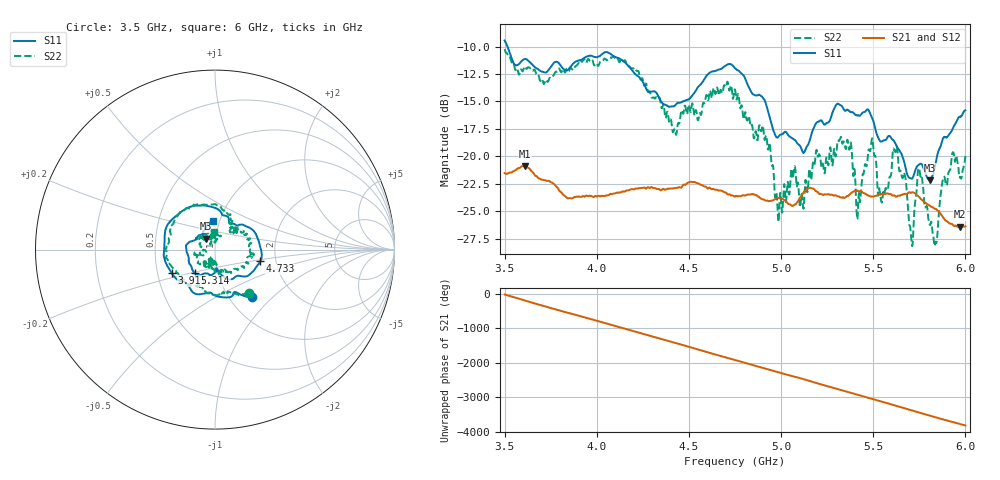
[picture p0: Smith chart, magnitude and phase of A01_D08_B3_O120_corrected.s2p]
! Created with skrf 1.9.0 (http://scikit-rf.org).
# Hz S RI R 50.0
!freq ReS11 ImS11 ReS21 ImS21 ReS12 ImS12 ReS22 ImS22
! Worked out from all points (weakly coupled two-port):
!   1601 points, 3.5 GHz to 6 GHz, reference 50 ohm
!   highest |S21| = -20.87 dB at 3.609 GHz (marker M1); lowest = -26.4 dB at 5.97 GHz (marker M2)
!   lowest |S11| = -22.2 dB at 5.806 GHz (marker M3), VSWR 1.17, Z = 45.1 + j5.54 ohm
!   |S11| at or under -10 dB: 3.515 GHz to end of sweep
!   |S22| runs from -28.2 to -10.2 dB; largest |S21 - S12| = 0.0012
!   S11 on the Smith chart (normalised r, x): 3.5 GHz: 1.27, -0.76; 3.911 GHz: 0.59, -0.17; 4.733 GHz: 1.66, -0.23; 5.314 GHz: 0.77, -0.21; 6 GHz: 0.93, +0.31
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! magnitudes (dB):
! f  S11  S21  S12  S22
! 3.5 GHz  -9.4  -21.5  -21.5  -10.2
! 3.609 GHz  -11.1  -20.9  -20.9  -11.8
! 3.911 GHz  -11.2  -23.7  -23.7  -11.3
! 3.917 GHz  -11.2  -23.7  -23.7  -11.3
! 4.334 GHz  -14.5  -23.0  -22.9  -14.7
! 4.423 GHz  -15.4  -22.9  -22.9  -17.6
! 4.733 GHz  -11.7  -23.6  -23.6  -13.9
! 4.75 GHz  -12.0  -23.7  -23.6  -13.9
! 4.909 GHz  -14.8  -24.0  -23.9  -18.4
! 4.994 GHz  -18.1  -23.8  -23.8  -23.6
! 5.167 GHz  -17.8  -22.9  -22.9  -21.6
! 5.314 GHz  -15.3  -23.6  -23.7  -18.6
! 5.419 GHz  -16.3  -23.2  -23.2  -24.1
! 5.487 GHz  -16.3  -23.7  -23.6  -19.1
! 5.536 GHz  -18.6  -23.5  -23.5  -23.2
! 5.584 GHz  -18.1  -23.4  -23.4  -22.3
! 5.62 GHz  -18.8  -23.6  -23.7  -19.6
! 5.705 GHz  -22.0  -23.3  -23.3  -27.3
! 5.752 GHz  -20.7  -23.7  -23.8  -21.3
! 5.806 GHz  -22.2  -24.5  -24.5  -26.2
! 5.97 GHz  -16.4  -26.4  -26.4  -21.9
! 6 GHz  -15.8  -26.4  -26.4  -20.0
